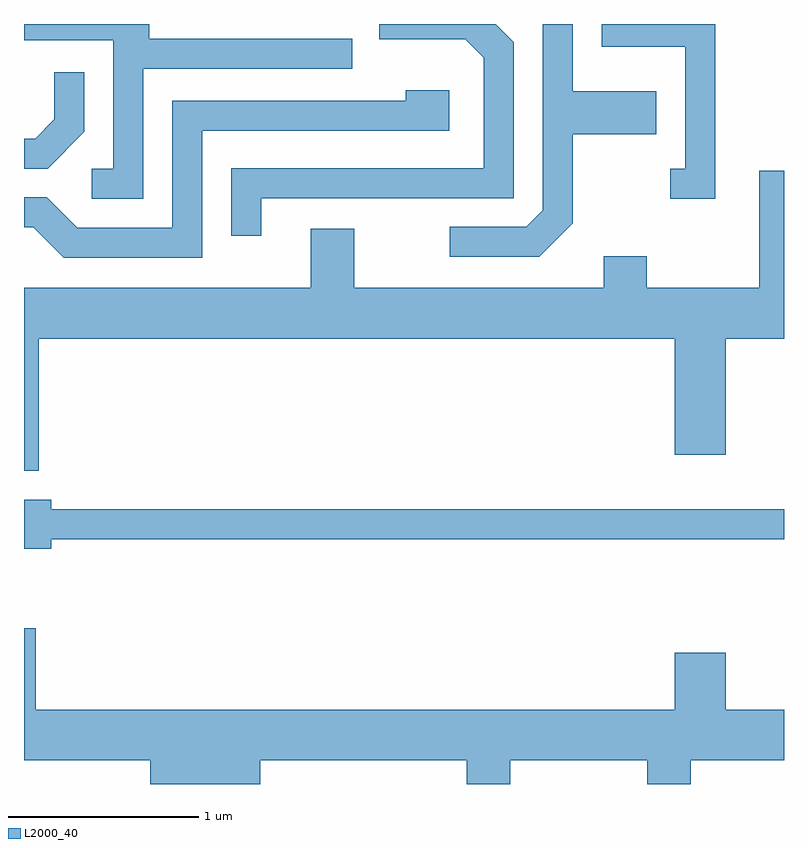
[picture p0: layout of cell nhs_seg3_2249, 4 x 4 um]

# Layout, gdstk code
import gdstk
lib = gdstk.Library(unit=1e-6, precision=1e-09)
def P(c, l, *ps):  # polygons
    for p in ps: c.add(gdstk.Polygon(p, *l))
L2000_40 = (2000, 40)

nhs_seg3_2249 = lib.new_cell('nhs_seg3_2249')
P(nhs_seg3_2249, L2000_40, [(255.249,1129.892),(254.651,1129.892),(254.651,1129.771),(255.091,1129.771),(255.091,1129.129),(255.013,1129.129),(255.013,1128.971),(255.249,1128.971)],
  [(254.499,1128.844),(254.499,1129.311),(254.939,1129.311),(254.939,1129.539),(254.499,1129.539),(254.499,1129.892),(254.341,1129.892),(254.341,1128.912),(254.254,1128.824),(253.853,1128.824),(253.853,1128.666),(254.322,1128.666)],
  [(252.239,1129.656),(253.338,1129.656),(253.338,1129.814),(252.269,1129.814),(252.269,1129.892),(251.611,1129.892),(251.611,1129.806),(252.081,1129.806),(252.081,1129.129),(251.968,1129.129),(251.968,1128.971),(252.239,1128.971)],
  [(252.859,1128.976),(254.189,1128.976),(254.189,1129.797),(254.094,1129.892),(253.481,1129.892),(253.481,1129.811),(253.934,1129.811),(254.031,1129.714),(254.031,1129.134),(252.701,1129.134),(252.701,1128.778),(252.859,1128.778)],
  [(251.929,1129.324),(251.929,1129.638),(251.771,1129.638),(251.771,1129.392),(251.669,1129.289),(251.611,1129.289),(251.611,1129.131),(251.737,1129.131)],
  [(252.549,1129.331),(253.849,1129.331),(253.849,1129.544),(253.621,1129.544),(253.621,1129.489),(252.391,1129.489),(252.391,1128.819),(251.892,1128.819),(251.732,1128.979),(251.611,1128.979),(251.611,1128.821),(251.659,1128.821),(251.819,1128.661),(252.549,1128.661)],
  [(255.036,1127.626),(255.304,1127.626),(255.304,1128.236),(255.611,1128.236),(255.611,1129.119),(255.481,1129.119),(255.481,1128.504),(254.889,1128.504),(254.889,1128.669),(254.661,1128.669),(254.661,1128.504),(253.349,1128.504),(253.349,1128.814),(253.121,1128.814),(253.121,1128.504),(251.611,1128.504),(251.611,1127.541),(251.689,1127.541),(251.689,1128.236),(255.036,1128.236)],
  [(251.754,1127.181),(255.611,1127.181),(255.611,1127.339),(251.754,1127.339),(251.754,1127.389),(251.611,1127.389),(251.611,1127.131),(251.754,1127.131)],
  [(252.854,1126.016),(253.941,1126.016),(253.941,1125.892),(254.169,1125.892),(254.169,1126.016),(254.891,1126.016),(254.891,1125.892),(255.119,1125.892),(255.119,1126.016),(255.611,1126.016),(255.611,1126.284),(255.304,1126.284),(255.304,1126.584),(255.036,1126.584),(255.036,1126.284),(251.674,1126.284),(251.674,1126.713),(251.611,1126.713),(251.611,1126.016),(252.276,1126.016),(252.276,1125.892),(252.854,1125.892)])

lib.write_gds('nhs_seg3_2249.gds')
